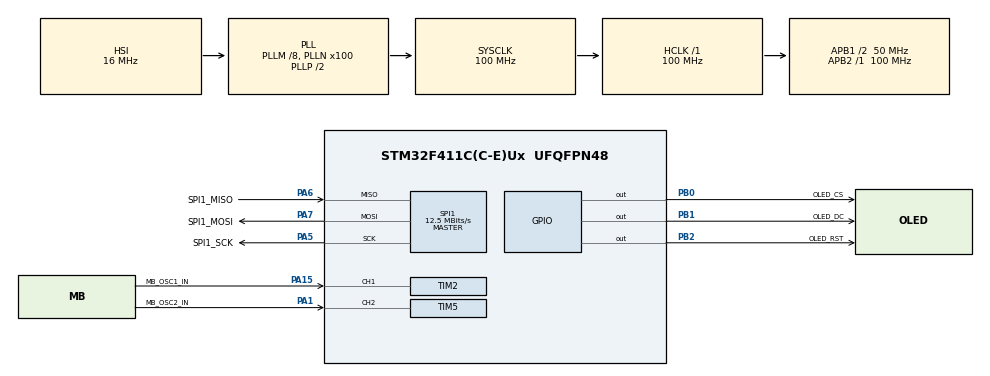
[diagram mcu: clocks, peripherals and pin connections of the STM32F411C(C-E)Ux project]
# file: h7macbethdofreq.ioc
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Mcu.Family=STM32F4
Mcu.Name=STM32F411C(C-E)Ux
Mcu.Package=UFQFPN48
NVIC.PriorityGroup=NVIC_PRIORITYGROUP_4
NVIC.TIM2_IRQn=true\:0\:0\:false\:false\:true\:true\:true\:true
NVIC.TIM5_IRQn=true\:0\:0\:false\:false\:true\:true\:true\:true
PA1.GPIO_Label=MB_OSC2_IN
PA1.GPIO_PuPd=GPIO_NOPULL
PA1.Signal=S_TIM5_CH2
PA13.Signal=SYS_JTMS-SWDIO
PA14.Signal=SYS_JTCK-SWCLK
PA15.GPIO_Label=MB_OSC1_IN
PA15.GPIO_PuPd=GPIO_NOPULL
PA15.Signal=S_TIM2_CH1_ETR
PA5.GPIO_Label=SPI1_SCK
PA5.GPIO_PuPd=GPIO_NOPULL
PA5.GPIO_Speed=GPIO_SPEED_FREQ_HIGH
PA5.Mode=Full_Duplex_Master
PA5.Signal=SPI1_SCK
PA6.GPIO_Label=SPI1_MISO
PA6.GPIO_PuPd=GPIO_NOPULL
PA6.GPIO_Speed=GPIO_SPEED_FREQ_HIGH
PA6.Mode=Full_Duplex_Master
PA6.Signal=SPI1_MISO
PA7.GPIO_Label=SPI1_MOSI
PA7.GPIO_PuPd=GPIO_NOPULL
PA7.GPIO_Speed=GPIO_SPEED_FREQ_HIGH
PA7.Mode=Full_Duplex_Master
PA7.Signal=SPI1_MOSI
PB0.GPIO_Label=OLED_CS
PB0.GPIO_ModeDefaultOutputPP=GPIO_MODE_OUTPUT_PP
PB0.GPIO_PuPd=GPIO_NOPULL
PB0.Signal=GPIO_Output
PB1.GPIO_Label=OLED_DC
PB1.GPIO_ModeDefaultOutputPP=GPIO_MODE_OUTPUT_PP
PB1.GPIO_PuPd=GPIO_NOPULL
PB1.Signal=GPIO_Output
PB2.GPIO_Label=OLED_RST
PB2.GPIO_ModeDefaultOutputPP=GPIO_MODE_OUTPUT_PP
PB2.GPIO_PuPd=GPIO_NOPULL
PB2.Signal=GPIO_Output
PH0\ -\ OSC_IN.Mode=HSE-External-Oscillator
PH0\ -\ OSC_IN.Signal=RCC_OSC_IN
PH1\ -\ OSC_OUT.Mode=HSE-External-Oscillator
PH1\ -\ OSC_OUT.Signal=RCC_OSC_OUT
ProjectManager.HeapSize=0x200
ProjectManager.StackSize=0x400
ProjectManager.TargetToolchain=STM32CubeIDE
RCC.48MHZClocksFreq_Value=50000000
RCC.AHBFreq_Value=100000000
RCC.APB1CLKDivider=RCC_HCLK_DIV2
RCC.APB1Freq_Value=50000000
RCC.APB1TimFreq_Value=100000000
RCC.APB2Freq_Value=100000000
RCC.APB2TimFreq_Value=100000000
RCC.CortexFreq_Value=100000000
RCC.HCLKFreq_Value=100000000
RCC.HSE_VALUE=25000000
RCC.HSI_VALUE=16000000
RCC.LSE_VALUE=32768
RCC.PLLM=8
RCC.PLLN=100
RCC.SYSCLKFreq_VALUE=100000000
RCC.SYSCLKSource=RCC_SYSCLKSOURCE_PLLCLK
RCC.VCOOutputFreq_Value=200000000
SH.S_TIM2_CH1_ETR.0=TIM2_CH1,Input_Capture1_from_TI1
SH.S_TIM5_CH2.0=TIM5_CH2,Input_Capture2_from_TI2
SPI1.BaudRatePrescaler=SPI_BAUDRATEPRESCALER_8
SPI1.CalculateBaudRate=12.5 MBits/s
SPI1.Direction=SPI_DIRECTION_2LINES
SPI1.Mode=SPI_MODE_MASTER
SPI1.VirtualType=VM_MASTER
TIM2.Channel-Input_Capture1_from_TI1=TIM_CHANNEL_1
TIM2.ICFilter_CH1=3
TIM2.ICPolarity_CH1=TIM_INPUTCHANNELPOLARITY_RISING
TIM2.Prescaler=0
TIM5.Channel-Input_Capture2_from_TI2=TIM_CHANNEL_2
TIM5.ICFilter_CH2=3
TIM5.Prescaler=0
VP_TIM2_VS_ClockSourceINT.Mode=Internal
VP_TIM5_VS_ClockSourceINT.Mode=Internal
board=custom

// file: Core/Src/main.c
/* USER CODE BEGIN Header */
/**
 *
 * STM32 based tuner for use with synth oscillators and Waveshare 128x64 displays.
 * https://github.com/h7-v/synth-osc-tuner
 * Works best with sawtooth waveform.
 *
 *
 * MAKE SURE TO USE THE CORRECT CLOCK SOURCE:
 * DEV BOARD: HSE EXTERNAL CLOCK
 * MCA BOARD: HSI INTERNAL CLOCK
 *
 *
 *
 *
 *
 *
 *
  ******************************************************************************
  * @file           : main.c
  * @brief          : Main program body
  ******************************************************************************
  * @attention
  *
  * Copyright (c) 2024 STMicroelectronics.
  * All rights reserved.
  *
  * This software is licensed under terms that can be found in the LICENSE file
  * in the root directory of this software component.
  * If no LICENSE file comes with this software, it is provided AS-IS.
  *
  ******************************************************************************
  */
/* USER CODE END Header */
#include "main.h"

/* USER CODE BEGIN Includes */
#include "../User/Example/test.h"
#include "../User/OLED/OLED_0in96_rgb.h"

#include <stdio.h>
#include <math.h>
#include <stdlib.h>
/* USER CODE END Includes */

SPI_HandleTypeDef hspi1;

TIM_HandleTypeDef htim2;
TIM_HandleTypeDef htim5;

void SystemClock_Config(void);
static void MX_GPIO_Init(void);
static void MX_SPI1_Init(void);
static void MX_TIM2_Init(void);
static void MX_TIM5_Init(void);

/* USER CODE BEGIN 0 */

// Precomputed frequency values scaled by 10 to avoid floating point
int note_frequencies[] = {
    163, 173, 183, 194, 206, 218, 231, 245, 259, 275, 291, 308,    // Octave 0
    327, 346, 367, 388, 412, 436, 462, 490, 519, 550, 582, 617,    // Octave 1
    654, 693, 734, 777, 824, 873, 925, 980, 1038, 1100, 1165, 1234, // Octave 2
    1308, 1386, 1468, 1555, 1648, 1746, 1850, 1960, 2076, 2200, 2331, 2469, // Octave 3
    2616, 2772, 2937, 3111, 3296, 3492, 3700, 3920, 4153, 4400, 4662, 4939, // Octave 4
    5233, 5544, 5873, 6223, 6592, 6985, 7400, 7840, 8306, 8800, 9323, 9877, // Octave 5
    10465, 11087, 11746, 12445, 13185, 13969, 14799, 15679, 16612, 17600, 18647, 19755, // Octave 6
    20930, 22175, 23493, 24890, 26370, 27938, 29599, 31359, 33224, 35200, 37293, 39511, // Octave 7
    41860, 44349, 46986, 49780, 52740, 55876, 59199, 62719, 66449, 70400, 74586, 79021, // Octave 8
    83720, 88698, 93973, 99561, 105480, 111753, 118398, 125438, 132898, 140800, 149172, 158042, // Octave 9
    167440, 177397, 187946, 199121  // Octave 10, truncated at D#
};

const char* note_names[] = {
    "C ", "C#", "D ", "D#", "E ", "F ", "F#", "G ", "G#", "A ", "A#", "B "
};

// Function to get the nearest musical note and indicate if frequency is
// lower or higher
const char* get_nearest_note_x10(int frequency_x10, char *result) {
    int closest_note = -1;
    int min_diff = 1000000;
    int size = sizeof(note_frequencies) / sizeof(note_frequencies[0]);

    // Find the closest frequency
    for (int i = 0; i < size; i++) {
        int diff = abs(frequency_x10 - note_frequencies[i]);
        if (diff < min_diff) {
            min_diff = diff;
            closest_note = i;
        }
    }

    // Calculate a dynamic tolerance (e.g., 0.5% of the frequency)
    int tolerance = frequency_x10 * 1.2 / 1000;  // 0.12% tolerance

    // Determine if we are higher, lower, or close enough
    if (min_diff <= tolerance) {
        // Exact match within tolerance
        sprintf(result, " %s ", note_names[closest_note % 12]);
    } else if (frequency_x10 > note_frequencies[closest_note]) {
        // Frequency is higher than the closest note
        sprintf(result, " %s<", note_names[closest_note % 12]);
    } else {
        // Frequency is lower than the closest note
        sprintf(result, ">%s ", note_names[closest_note % 12]);
    }

    return result;
}

// Variables to store current frequency for both oscillators
float frequency_ch1 = 0;
float frequency_ch2 = 0;

// Variables to store total frequency and count for oscillator 1
float total_frequency_ch1 = 0;
int frequency_count_ch1 = 0;
const int AVERAGE_CYCLES1 = 10;  // Number of cycles to average over

// This function is called whenever a new frequency is measured
void add_to_freq1_averager(float new_frequency) {
    if (new_frequency < 70.0f) {
    	frequency_ch1 = new_frequency;

    	total_frequency_ch1 = 0;
    	frequency_count_ch1 = 0;
    	return;
    }

	// Accumulate the frequency
    total_frequency_ch1 += new_frequency;
    frequency_count_ch1++;

    // Check if we've reached the number of cycles to average
    if (frequency_count_ch1 >= AVERAGE_CYCLES1) {
        // Calculate the average frequency
        float average_frequency = total_frequency_ch1 / frequency_count_ch1;

        // Set current frequency
        frequency_ch1 = average_frequency;

        // Reset for the next batch of measurements
        total_frequency_ch1 = 0;
        frequency_count_ch1 = 0;
    }
}

// Variables to store total frequency and count for oscillator 2
float total_frequency_ch2 = 0;
int frequency_count_ch2 = 0;
const int AVERAGE_CYCLES2 = 10;  // Number of cycles to average over

// This function is called whenever a new frequency is measured
void add_to_freq2_averager(float new_frequency) {
	if (new_frequency < 70.0f) {
	    frequency_ch2 = new_frequency;

	    total_frequency_ch2 = 0;
	    frequency_count_ch2 = 0;
	    return;
	   }

	// Accumulate the frequency
    total_frequency_ch2 += new_frequency;
    frequency_count_ch2++;

    // Check if we've reached the number of cycles to average
    if (frequency_count_ch2 >= AVERAGE_CYCLES2) {
        // Calculate the average frequency
        float average_frequency = total_frequency_ch2 / frequency_count_ch2;

        // Set current frequency
        frequency_ch2 = average_frequency;

        // Reset for the next batch of measurements
        total_frequency_ch2 = 0;
        frequency_count_ch2 = 0;
    }
}

// Channel 1 (TIM2) variables
uint32_t IC_Val1_Ch1 = 0;
uint32_t IC_Val2_Ch1 = 0;
uint32_t Difference_Ch1 = 0;
int Is_First_Captured_Ch1 = 0;

// Channel 2 (TIM5) variables
uint32_t IC_Val1_Ch2 = 0;
uint32_t IC_Val2_Ch2 = 0;
uint32_t Difference_Ch2 = 0;
int Is_First_Captured_Ch2 = 0;

// Common clock and prescaler definitions
#define TIMCLOCK   100000000.0f
// Uncomment if using prescaler. Also check code in functions below
//#define PRESCALER  1

// Function to handle TIM2 (Channel 1)
void HAL_TIM_IC_CaptureCallback_TIM2(TIM_HandleTypeDef *htim)
{
    if (htim->Channel == HAL_TIM_ACTIVE_CHANNEL_1) // Channel 1 active
    {
        if (Is_First_Captured_Ch1 == 0) // First rising edge
        {
            IC_Val1_Ch1 = HAL_TIM_ReadCapturedValue(htim, TIM_CHANNEL_1);
            Is_First_Captured_Ch1 = 1; // First capture complete
        }
        else // Second rising edge
        {
            IC_Val2_Ch1 = HAL_TIM_ReadCapturedValue(htim, TIM_CHANNEL_1);

            if (IC_Val2_Ch1 >= IC_Val1_Ch1)
            {
                Difference_Ch1 = IC_Val2_Ch1 - IC_Val1_Ch1;
            }
            else
            {
                Difference_Ch1 = (0xffffffff - IC_Val1_Ch1) + IC_Val2_Ch1;
            }

            if (Difference_Ch1 > 0)
            {
            	// Old prescaler code
//                float refClock = TIMCLOCK / (PRESCALER);
//                frequency_ch1 = refClock / Difference_Ch1;
//            	frequency_ch1 = TIMCLOCK / Difference_Ch1; // Not using prescaler
            	add_to_freq1_averager(TIMCLOCK / Difference_Ch1);

                if (frequency_ch1 > 9999.9f)
                {
                	frequency_ch1 = 0;
                }
            }
            else
            {
                frequency_ch1 = 0;
            }

            __HAL_TIM_SET_COUNTER(htim, 0); // Reset counter
            Is_First_Captured_Ch1 = 0; // Ready for next capture
        }
    }
}

// Function to handle TIM5 (Channel 2)
void HAL_TIM_IC_CaptureCallback_TIM5(TIM_HandleTypeDef *htim)
{
    if (htim->Channel == HAL_TIM_ACTIVE_CHANNEL_2) // Channel 2 active (TIM5)
    {
        if (Is_First_Captured_Ch2 == 0) // First rising edge
        {
            IC_Val1_Ch2 = HAL_TIM_ReadCapturedValue(htim, TIM_CHANNEL_2);
            Is_First_Captured_Ch2 = 1; // First capture complete
        }
        else // Second rising edge
        {
            IC_Val2_Ch2 = HAL_TIM_ReadCapturedValue(htim, TIM_CHANNEL_2);

            if (IC_Val2_Ch2 >= IC_Val1_Ch2)
            {
                Difference_Ch2 = IC_Val2_Ch2 - IC_Val1_Ch2;
            }
            else
            {
                Difference_Ch2 = (0xffffffff - IC_Val1_Ch2) + IC_Val2_Ch2;
            }

            if (Difference_Ch2 > 0)
            {
            	// Old prescaler code
//                float refClock = TIMCLOCK / (PRESCALER);
//                frequency_ch2 = refClock / Difference_Ch2;
//                frequency_ch2 = TIMCLOCK / Difference_Ch2; // Not using prescaler
            	add_to_freq2_averager(TIMCLOCK / Difference_Ch2);

                if (frequency_ch2 > 9999.9f)
                {
                    frequency_ch2 = 0;
                }
            }
            else
            {
                frequency_ch2 = 0;
            }

            __HAL_TIM_SET_COUNTER(htim, 0); // Reset counter
            Is_First_Captured_Ch2 = 0; // Ready for next capture
        }
    }
}

// Main callback handler
void HAL_TIM_IC_CaptureCallback(TIM_HandleTypeDef *htim)
{
    if (htim->Instance == TIM2)
    {
        HAL_TIM_IC_CaptureCallback_TIM2(htim); // Handle TIM2 (Channel 1)
    }
    else if (htim->Instance == TIM5)
    {
        HAL_TIM_IC_CaptureCallback_TIM5(htim); // Handle TIM5 (Channel 2)
    }
}

/* USER CODE END 0 */

int main(void)
{

  /* MCU Configuration--------------------------------------------------------*/

  /* Reset of all peripherals, Initializes the Flash interface and the Systick. */
  HAL_Init();

  /* Configure the system clock */
  SystemClock_Config();

  /* Initialize all configured peripherals */
  MX_GPIO_Init();
  MX_SPI1_Init();
  MX_TIM2_Init();
  MX_TIM5_Init();
  /* USER CODE BEGIN 2 */
  if(System_Init() != 0) {
            return -1;
        }

  OLED_0in96_rgb_Init();

  // This was 500ms but I was getting random pixels for 0.5s. Seems to work like this still
  Driver_Delay_ms(50);

  OLED_0in96_rgb_Clear();
  Driver_Delay_ms(500);

  //1.Create a new image size
  UBYTE *BlackImage;
  UWORD Imagesize = OLED_0in96_rgb_WIDTH * OLED_0in96_rgb_HEIGHT * 2;
  if((BlackImage = (UBYTE *)malloc(Imagesize/2)) == NULL) {
  		printf("Failed to apply for black memory...\r\n");
  		return -1;
  }

  Paint_NewImage(BlackImage, OLED_0in96_rgb_WIDTH, OLED_0in96_rgb_HEIGHT, 270,
		  	  	 BLACK); // 90 is orientation, 270 to flip upside down
  Paint_SetScale(65);
  printf("Drawing\r\n");
  //1.Select Image
  Paint_SelectImage(BlackImage);
  Paint_Clear(BLACK);
  Driver_Delay_ms(50);

  // IMAGES NOTES:
  // Photoshop down to 128x64 with greyscale black background no transparency.
  // Merge layers. Go image -> Adjustments -> Threshold. Adjust to taste
  // Save As... BMP file type
  // Open in Image2Lcd. Use settings C array, Vertical Scan, the top 16-bit
  // TrueColor option.
  // Uncheck Include head data, check Scan bottom to Top.
  // Click save. Create new entries in ImageData.h and ImageData.c with the
  // resulting array.
  // Use in function below.
  // FOR 270 DEGREES uncheck Scan bottom to Top and check Scan Right to Left
  // instead.
  // Logos not being used are commented out in ImageData.c and ImageData.h

  // Display Macbeth logo
  // Photoshop Threshold set to 106
  OLED_0in96_rgb_Display(gImage_macbeth_logo_270deg);
  Driver_Delay_ms(1250);
  Paint_Clear(BLACK);
  Driver_Delay_ms(50);

  // Display MCA logo
  // Photoshop Threshold also set to 106
  OLED_0in96_rgb_Display(gImage_mca_logo_270deg);
  Driver_Delay_ms(1250);
  Paint_Clear(BLACK);
  Driver_Delay_ms(50);

  // Draw O1 and O2 onto the screen out of the loop as they do not change
  Paint_DrawString_EN(10, 0, "O1", &Font16, WHITE, BLACK);
  Paint_DrawString_EN(10, 32, "O2", &Font16, WHITE, BLACK);

  char tunertext_ch1[4];
  char tunertext_ch2[4];
  float freq1_display;
  float freq2_display;

  HAL_TIM_IC_Start_IT(&htim2, TIM_CHANNEL_1);
  HAL_TIM_IC_Start_IT(&htim5, TIM_CHANNEL_2);

  /* USER CODE END 2 */

  /* Infinite loop */
  /* USER CODE BEGIN WHILE */
  while (1)
  {
//	  OLED_0in96_rgb_test();

	  // O1 and O2 drawn outside of the loop

	  // WORKING CODE START
	  freq1_display = frequency_ch1;
	  freq2_display = frequency_ch2;

	  // Check if freq1_display is zero and display "--" if true, otherwise
	  // call the function
	  if (freq1_display == 0) {
	      Paint_DrawString_EN(52, 0, " -- ", &Font16, WHITE, BLACK);
	  } else {
	      Paint_DrawString_EN(52, 0, get_nearest_note_x10((int)(freq1_display * 10),
	    		  	  	  	  tunertext_ch1), &Font16, WHITE, BLACK);
	  }

	  // Display the frequency value
	  Paint_DrawNumStaticDecimalPoint(52, 16, freq1_display, &Font16, WHITE,
			  	  	  	  	  	  	  BLACK);

	  // Same logic for freq2_display
	  if (freq2_display == 0) {
	      Paint_DrawString_EN(52, 32, " -- ", &Font16, WHITE, BLACK);
	  } else {
	      Paint_DrawString_EN(52, 32, get_nearest_note_x10((int)(freq2_display * 10),
	    		  	  	  	  tunertext_ch2), &Font16, WHITE, BLACK);
	  }

	  // Display the second frequency value
	  Paint_DrawNumStaticDecimalPoint(52, 48, freq2_display, &Font16, WHITE,
			  	  	  	  	  	  	  BLACK);

	  OLED_0in96_rgb_Display(BlackImage);

	  Driver_Delay_ms(100); // Time between display updates
	  HAL_Delay(50);  // Time between display updates
	  // WORKING CODE END

    /* USER CODE END WHILE */

  }
}

void SystemClock_Config(void)
{
  RCC_OscInitTypeDef RCC_OscInitStruct = {0};
  RCC_ClkInitTypeDef RCC_ClkInitStruct = {0};

  /** Configure the main internal regulator output voltage
  */
  __HAL_RCC_PWR_CLK_ENABLE();
  __HAL_PWR_VOLTAGESCALING_CONFIG(PWR_REGULATOR_VOLTAGE_SCALE1);

  /** Initializes the RCC Oscillators according to the specified parameters
  * in the RCC_OscInitTypeDef structure.
  */
  RCC_OscInitStruct.OscillatorType = RCC_OSCILLATORTYPE_HSI;
  RCC_OscInitStruct.HSIState = RCC_HSI_ON;
  RCC_OscInitStruct.HSICalibrationValue = RCC_HSICALIBRATION_DEFAULT;
  RCC_OscInitStruct.PLL.PLLState = RCC_PLL_ON;
  RCC_OscInitStruct.PLL.PLLSource = RCC_PLLSOURCE_HSI;
  RCC_OscInitStruct.PLL.PLLM = 8;
  RCC_OscInitStruct.PLL.PLLN = 100;
  RCC_OscInitStruct.PLL.PLLP = RCC_PLLP_DIV2;
  RCC_OscInitStruct.PLL.PLLQ = 4;
  if (HAL_RCC_OscConfig(&RCC_OscInitStruct) != HAL_OK)
  {
    Error_Handler();
  }

  /** Initializes the CPU, AHB and APB buses clocks
  */
  RCC_ClkInitStruct.ClockType = RCC_CLOCKTYPE_HCLK|RCC_CLOCKTYPE_SYSCLK
                              |RCC_CLOCKTYPE_PCLK1|RCC_CLOCKTYPE_PCLK2;
  RCC_ClkInitStruct.SYSCLKSource = RCC_SYSCLKSOURCE_PLLCLK;
  RCC_ClkInitStruct.AHBCLKDivider = RCC_SYSCLK_DIV1;
  RCC_ClkInitStruct.APB1CLKDivider = RCC_HCLK_DIV2;
  RCC_ClkInitStruct.APB2CLKDivider = RCC_HCLK_DIV1;

  if (HAL_RCC_ClockConfig(&RCC_ClkInitStruct, FLASH_LATENCY_3) != HAL_OK)
  {
    Error_Handler();
  }
}

static void MX_SPI1_Init(void)
{

  /* SPI1 parameter configuration*/
  hspi1.Instance = SPI1;
  hspi1.Init.Mode = SPI_MODE_MASTER;
  hspi1.Init.Direction = SPI_DIRECTION_2LINES;
  hspi1.Init.DataSize = SPI_DATASIZE_8BIT;
  hspi1.Init.CLKPolarity = SPI_POLARITY_LOW;
  hspi1.Init.CLKPhase = SPI_PHASE_1EDGE;
  hspi1.Init.NSS = SPI_NSS_SOFT;
  hspi1.Init.BaudRatePrescaler = SPI_BAUDRATEPRESCALER_8;
  hspi1.Init.FirstBit = SPI_FIRSTBIT_MSB;
  hspi1.Init.TIMode = SPI_TIMODE_DISABLE;
  hspi1.Init.CRCCalculation = SPI_CRCCALCULATION_DISABLE;
  hspi1.Init.CRCPolynomial = 10;
  if (HAL_SPI_Init(&hspi1) != HAL_OK)
  {
    Error_Handler();
  }

}

static void MX_TIM2_Init(void)
{

  TIM_ClockConfigTypeDef sClockSourceConfig = {0};
  TIM_MasterConfigTypeDef sMasterConfig = {0};
  TIM_IC_InitTypeDef sConfigIC = {0};

  htim2.Instance = TIM2;
  htim2.Init.Prescaler = 0;
  htim2.Init.CounterMode = TIM_COUNTERMODE_UP;
  htim2.Init.Period = 4294967295;
  htim2.Init.ClockDivision = TIM_CLOCKDIVISION_DIV1;
  htim2.Init.AutoReloadPreload = TIM_AUTORELOAD_PRELOAD_DISABLE;
  if (HAL_TIM_Base_Init(&htim2) != HAL_OK)
  {
    Error_Handler();
  }
  sClockSourceConfig.ClockSource = TIM_CLOCKSOURCE_INTERNAL;
  if (HAL_TIM_ConfigClockSource(&htim2, &sClockSourceConfig) != HAL_OK)
  {
    Error_Handler();
  }
  if (HAL_TIM_IC_Init(&htim2) != HAL_OK)
  {
    Error_Handler();
  }
  sMasterConfig.MasterOutputTrigger = TIM_TRGO_RESET;
  sMasterConfig.MasterSlaveMode = TIM_MASTERSLAVEMODE_DISABLE;
  if (HAL_TIMEx_MasterConfigSynchronization(&htim2, &sMasterConfig) != HAL_OK)
  {
    Error_Handler();
  }
  sConfigIC.ICPolarity = TIM_INPUTCHANNELPOLARITY_RISING;
  sConfigIC.ICSelection = TIM_ICSELECTION_DIRECTTI;
  sConfigIC.ICPrescaler = TIM_ICPSC_DIV1;
  sConfigIC.ICFilter = 3;
  if (HAL_TIM_IC_ConfigChannel(&htim2, &sConfigIC, TIM_CHANNEL_1) != HAL_OK)
  {
    Error_Handler();
  }

}

static void MX_TIM5_Init(void)
{

  TIM_ClockConfigTypeDef sClockSourceConfig = {0};
  TIM_MasterConfigTypeDef sMasterConfig = {0};
  TIM_IC_InitTypeDef sConfigIC = {0};

  htim5.Instance = TIM5;
  htim5.Init.Prescaler = 0;
  htim5.Init.CounterMode = TIM_COUNTERMODE_UP;
  htim5.Init.Period = 4294967295;
  htim5.Init.ClockDivision = TIM_CLOCKDIVISION_DIV1;
  htim5.Init.AutoReloadPreload = TIM_AUTORELOAD_PRELOAD_DISABLE;
  if (HAL_TIM_Base_Init(&htim5) != HAL_OK)
  {
    Error_Handler();
  }
  sClockSourceConfig.ClockSource = TIM_CLOCKSOURCE_INTERNAL;
  if (HAL_TIM_ConfigClockSource(&htim5, &sClockSourceConfig) != HAL_OK)
  {
    Error_Handler();
  }
  if (HAL_TIM_IC_Init(&htim5) != HAL_OK)
  {
    Error_Handler();
  }
  sMasterConfig.MasterOutputTrigger = TIM_TRGO_RESET;
  sMasterConfig.MasterSlaveMode = TIM_MASTERSLAVEMODE_DISABLE;
  if (HAL_TIMEx_MasterConfigSynchronization(&htim5, &sMasterConfig) != HAL_OK)
  {
    Error_Handler();
  }
  sConfigIC.ICPolarity = TIM_INPUTCHANNELPOLARITY_RISING;
  sConfigIC.ICSelection = TIM_ICSELECTION_DIRECTTI;
  sConfigIC.ICPrescaler = TIM_ICPSC_DIV1;
  sConfigIC.ICFilter = 3;
  if (HAL_TIM_IC_ConfigChannel(&htim5, &sConfigIC, TIM_CHANNEL_2) != HAL_OK)
  {
    Error_Handler();
  }

}

static void MX_GPIO_Init(void)
{
  GPIO_InitTypeDef GPIO_InitStruct = {0};

  /* GPIO Ports Clock Enable */
  __HAL_RCC_GPIOH_CLK_ENABLE();
  __HAL_RCC_GPIOA_CLK_ENABLE();
  __HAL_RCC_GPIOB_CLK_ENABLE();

  /*Configure GPIO pin Output Level */
  HAL_GPIO_WritePin(GPIOB, OLED_CS_Pin|OLED_DC_Pin|OLED_RST_Pin, GPIO_PIN_RESET);

  /*Configure GPIO pins : OLED_CS_Pin OLED_DC_Pin OLED_RST_Pin */
  GPIO_InitStruct.Pin = OLED_CS_Pin|OLED_DC_Pin|OLED_RST_Pin;
  GPIO_InitStruct.Mode = GPIO_MODE_OUTPUT_PP;
  GPIO_InitStruct.Pull = GPIO_NOPULL;
  GPIO_InitStruct.Speed = GPIO_SPEED_FREQ_LOW;
  HAL_GPIO_Init(GPIOB, &GPIO_InitStruct);

}

void Error_Handler(void)
{
  __disable_irq();
  while (1)
  {
  }
}
